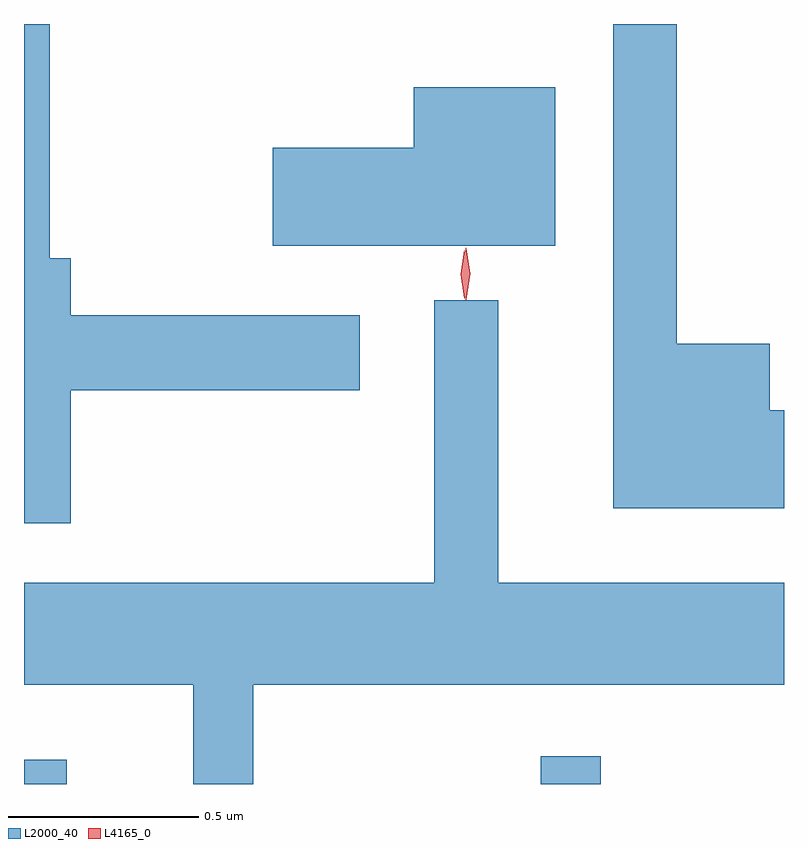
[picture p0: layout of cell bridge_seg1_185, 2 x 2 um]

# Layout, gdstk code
import gdstk
lib = gdstk.Library(unit=1e-6, precision=1e-09)
def R(c, l, rs):  # rectangles x0, y0, x1, y1
    for r in rs: c.add(gdstk.rectangle(r[:2], r[2:], *l))
def P(c, l, *ps):  # polygons
    for p in ps: c.add(gdstk.Polygon(p, *l))
L2000_40 = (2000, 40)
L4165_0 = (4165, 0)

bridge_seg1_185 = lib.new_cell('bridge_seg1_185')
R(bridge_seg1_185, L2000_40, [(830.321,914.855,830.434,914.919), (831.681,914.855,831.839,914.928)])
P(bridge_seg1_185, L2000_40, [(832.321,915.839),(832.284,915.839),(832.284,916.014),(832.039,916.014),(832.039,916.855),(831.871,916.855),(831.871,915.581),(832.321,915.581)],
  [(830.444,915.891),(831.204,915.891),(831.204,916.089),(830.444,916.089),(830.444,916.239),(830.389,916.239),(830.389,916.855),(830.321,916.855),(830.321,915.541),(830.444,915.541)],
  [(831.719,916.689),(831.346,916.689),(831.346,916.529),(830.976,916.529),(830.976,916.271),(831.719,916.271)],
  [(830.924,915.116),(832.321,915.116),(832.321,915.384),(831.569,915.384),(831.569,916.128),(831.401,916.128),(831.401,915.384),(830.321,915.384),(830.321,915.116),(830.766,915.116),(830.766,914.855),(830.924,914.855)])
P(bridge_seg1_185, L4165_0, [(831.48,916.133),(831.48,916.133),(831.47,916.196),(831.479,916.259),(831.48,916.259),(831.48,916.259),(831.49,916.196),(831.481,916.133)],
  [(831.484,916.13),(831.475,916.198),(831.484,916.265),(831.484,916.266),(831.485,916.265),(831.495,916.198),(831.485,916.13),(831.485,916.13)])

lib.write_gds('bridge_seg1_185.gds')
